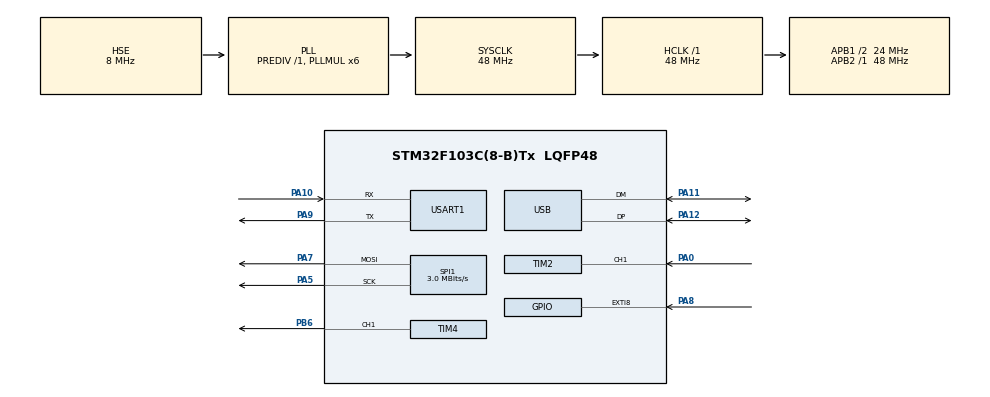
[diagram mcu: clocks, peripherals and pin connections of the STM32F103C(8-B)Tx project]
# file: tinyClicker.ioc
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Mcu.Family=STM32F1
Mcu.Name=STM32F103C(8-B)Tx
Mcu.Package=LQFP48
Mcu.UserConstants=HID_CUSTOM_REPORT_DESC_SIZE,78
NVIC.EXTI9_5_IRQn=true\:0\:0\:false\:false\:true\:true\:true
NVIC.PriorityGroup=NVIC_PRIORITYGROUP_4
NVIC.TIM2_IRQn=true\:0\:0\:false\:false\:true\:true\:true
NVIC.USB_LP_CAN1_RX0_IRQn=true\:0\:0\:false\:false\:true\:false\:true
PA0-WKUP.Signal=S_TIM2_CH1_ETR
PA10.Mode=Asynchronous
PA10.Signal=USART1_RX
PA11.Mode=Device
PA11.Signal=USB_DM
PA12.Mode=Device
PA12.Signal=USB_DP
PA13.Mode=Serial_Wire
PA13.Signal=SYS_JTMS-SWDIO
PA14.Mode=Serial_Wire
PA14.Signal=SYS_JTCK-SWCLK
PA5.Mode=TX_Only_Simplex_Unidirect_Master
PA5.Signal=SPI1_SCK
PA7.Mode=TX_Only_Simplex_Unidirect_Master
PA7.Signal=SPI1_MOSI
PA8.GPIO_ModeDefaultEXTI=GPIO_MODE_IT_FALLING
PA8.Signal=GPXTI8
PA9.Mode=Asynchronous
PA9.Signal=USART1_TX
PB6.Signal=S_TIM4_CH1
PC14-OSC32_IN.Mode=LSE-External-Oscillator
PC14-OSC32_IN.Signal=RCC_OSC32_IN
PC15-OSC32_OUT.Mode=LSE-External-Oscillator
PC15-OSC32_OUT.Signal=RCC_OSC32_OUT
PD0-OSC_IN.Mode=HSE-External-Oscillator
PD0-OSC_IN.Signal=RCC_OSC_IN
PD1-OSC_OUT.Mode=HSE-External-Oscillator
PD1-OSC_OUT.Signal=RCC_OSC_OUT
ProjectManager.HeapSize=0x200
ProjectManager.StackSize=0x400
ProjectManager.TargetToolchain=Makefile
RCC.AHBFreq_Value=48000000
RCC.APB1CLKDivider=RCC_HCLK_DIV2
RCC.APB1Freq_Value=24000000
RCC.APB1TimFreq_Value=48000000
RCC.APB2Freq_Value=48000000
RCC.APB2TimFreq_Value=48000000
RCC.HCLKFreq_Value=48000000
RCC.HSICalibrationValue=8
RCC.PLLMUL=RCC_PLL_MUL6
RCC.PLLSourceVirtual=RCC_PLLSOURCE_HSE
RCC.SYSCLKFreq_VALUE=48000000
RCC.SYSCLKSource=RCC_SYSCLKSOURCE_PLLCLK
RCC.USBFreq_Value=48000000
SH.S_TIM2_CH1_ETR.0=TIM2_CH1,Input_Capture1_from_TI1
SH.S_TIM2_CH1_ETR.1=TIM2_CH1,Input_Capture2_from_TI1
SH.S_TIM4_CH1.0=TIM4_CH1,PWM Generation1 CH1
SPI1.BaudRatePrescaler=SPI_BAUDRATEPRESCALER_16
SPI1.CalculateBaudRate=3.0 MBits/s
SPI1.Direction=SPI_DIRECTION_2LINES
SPI1.Mode=SPI_MODE_MASTER
SPI1.VirtualType=VM_MASTER
TIM2.AutoReloadPreload=TIM_AUTORELOAD_PRELOAD_DISABLE
TIM2.Channel-Input_Capture1_from_TI1=TIM_CHANNEL_1
TIM2.Channel-Input_Capture2_from_TI1=TIM_CHANNEL_2
TIM2.ICFilter_CH1=0
TIM2.ICPolarity_CH1=TIM_INPUTCHANNELPOLARITY_FALLING
TIM2.Period=64000
TIM2.Prescaler=4799
TIM2.TIM_MasterOutputTrigger=TIM_TRGO_RESET
TIM4.Channel-PWM\ Generation1\ CH1=TIM_CHANNEL_1
TIM4.Period=999
TIM4.Prescaler=35
TIM4.Pulse-PWM\ Generation1\ CH1=499
USART1.VirtualMode=VM_ASYNC
USB_DEVICE.CLASS_NAME_FS=HID
USB_DEVICE.VirtualMode=Hid
USB_DEVICE.VirtualModeFS=Hid_FS
VP_USB_DEVICE_VS_USB_DEVICE_HID_FS.Mode=HID_FS
board=tinyClicker

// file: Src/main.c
/* USER CODE BEGIN Header */
/**
******************************************************************************
* @file           : main.c
* @brief          : Main program body
******************************************************************************
* @attention
*
* <h2><center>&copy; Copyright (c) 2019 STMicroelectronics.
* All rights reserved.</center></h2>
*
* This software component is licensed by ST under BSD 3-Clause license,
* the "License"; You may not use this file except in compliance with the
* License. You may obtain a copy of the License at:
*                        opensource.org/licenses/BSD-3-Clause
*
******************************************************************************
*/
/* USER CODE END Header */

#include "main.h"
#include "usb_device.h"

/* USER CODE BEGIN Includes */
#include <stdio.h>
#include <math.h>
#include <stdbool.h>

#include "usbd_hid.h"
#include "usb_device.h"
/* USER CODE END Includes */

/* USER CODE BEGIN PTD */
struct keyboardHID_t {
	uint8_t id;
	uint8_t modifiers;
	uint8_t key1;
	uint8_t key2;
	uint8_t key3;
};

/* USER CODE END PTD */

/* USER CODE BEGIN PD */
#define USB_KEY_RIGHT 			0x4f
#define USB_KEY_LEFT 			0x50
/* USER CODE END PD */

SPI_HandleTypeDef hspi1;

TIM_HandleTypeDef htim2;
TIM_HandleTypeDef htim4;

UART_HandleTypeDef huart1;

/* USER CODE BEGIN PV */
/* Private variables ---------------------------------------------------------*/

#include  <errno.h>
#include  <sys/unistd.h> // STDOUT_FILENO, STDERR_FILENO

int _write(int file, char *data, int len)
{
	if ((file != STDOUT_FILENO) && (file != STDERR_FILENO))
	{
		errno = EBADF;
		return -1;
	}

	// arbitrary timeout 1000
	HAL_StatusTypeDef status =
		HAL_UART_Transmit(&huart1, (uint8_t*)data, len, 1000);

	// return # of bytes written - as best we can tell
	return (status == HAL_OK ? len : 0);
}

/* USER CODE END PV */

void SystemClock_Config(void);
static void MX_GPIO_Init(void);
static void MX_SPI1_Init(void);
static void MX_USART1_UART_Init(void);
static void MX_TIM2_Init(void);
static void MX_TIM4_Init(void);
/* USER CODE BEGIN PFP */
/* Private function prototypes -----------------------------------------------*/

/* USER CODE END PFP */

/* USER CODE BEGIN 0 */
int32_t buff[128][2];
#define BUFF_SIZE (sizeof (buff) / sizeof (buff[0]))
int bi = 0;
void add_val (int a, int e) {
	buff[bi++][0] = a;
	buff[bi][1] = e;
	if (bi == sizeof (buff) / sizeof (buff[0]))
		bi = 0;
}

void print_vals () {
	int i;
	for (i=0; i< sizeof (buff) / sizeof (buff[0]); ++i) {
		printf ("%d %ld - %ld\n", i, buff[i][1], buff[i][0]);
	}
}

int32_t diff (int32_t a, int32_t b) {
	if ( (int32_t) a > (int32_t) b )
		return 0xffffffff + a - b;
	return a - b;
}

#define PREC		6
int inrange (int32_t a, int32_t ref) {
	if (a < ref + PREC &&
		a > ref - PREC)
		return true;
	return false;
}

int pulselen (size_t ind) {
	ind %= BUFF_SIZE;
	size_t next_ind = (ind + 1) % BUFF_SIZE;
	return diff (buff[next_ind][0], buff[ind][0]);
}

void buff_set (size_t ind, int val) {
	ind %= BUFF_SIZE;
	buff[ind][0] = val;
}

bool process (int *ret_addr, int *ret_comm) {
	/* TODO: */
	size_t i;
	bool found = false;
	for (i = 0; i < BUFF_SIZE - 2; i++) {
		if (inrange (pulselen (i), 90) &&
			inrange (pulselen (i+1), 45)) {
			/* printf ("Found  start at index: %d\n", i); */
			found = true;
			break;
		}
	}
	if (! found)
		return false;
	char decoded[32] = {0};
	size_t di = 0;
	if (found) {
		HAL_Delay (60); 		/* wait for payload */
		HAL_TIM_IC_Stop (&htim2, TIM_CHANNEL_1);
		HAL_TIM_IC_Stop (&htim2, TIM_CHANNEL_2);

		buff_set (i, 0);
		buff_set (i+1, 0);
		i += 2;
		i %= BUFF_SIZE;
		for (; di < 32; ++i) {
			if (inrange (pulselen (i) , 5) &&
				inrange (pulselen (i+1), 5))
				decoded[di++] = 0;
			else if (inrange (pulselen (i) , 5) &&
					 inrange (pulselen (i+1), 17))
				decoded[di++] = 1;
			else {
				print_vals ();
				printf ("Decoding error at index %d : %d %d\n",
						i % BUFF_SIZE,
						pulselen (i), pulselen(i+1));
				HAL_TIM_IC_Start_IT (&htim2, TIM_CHANNEL_1);
				HAL_TIM_IC_Start_IT (&htim2, TIM_CHANNEL_2);
				/* while (1); */
				return false;
			}

			i++;
			if (i == BUFF_SIZE)
				i = 0;
		}
	}

	HAL_TIM_IC_Start_IT (&htim2, TIM_CHANNEL_1);
	HAL_TIM_IC_Start_IT (&htim2, TIM_CHANNEL_2);

	uint8_t payload[4] = {0};
#ifdef PROC_DEB
	printf ("Decoded :");
	for (di=0; di < 32; ++di) {
		printf ("%d", decoded[di]);
	}
	puts ("");
#endif

	i = 0;
	size_t j = 0;
	for (j=0; j < 4; ++j) {
		for (i=0; i < 8 ; ++i) {
			payload[j] |= (decoded[j*8 + i] << i);
		}
	}

#ifdef PROC_DEB
	printf ("%02X %02X %02X %02X\n",
			payload[0],
			payload[1],
			payload[2],
			payload[3]);

	/* other checks */
#endif

	if ( (payload[0] ^ payload[1]) != 0xff ||
		 (payload[2] ^ payload[3]) != 0xff) {
		printf ("XOR error ");
		printf ("%02X %02X %02X %02X\n",
				payload[0],
				payload[1],
				payload[2],
				payload[3]);
		return false;
#ifdef PROC_DEB
		puts ("XOR error ");
#endif
	}

	uint8_t addr=payload[0], com = payload[2];

	printf ("Addr: %02X, com: %02X\n", addr, com);

	*ret_addr = addr;
	*ret_comm = com;
	return true;
}

void HAL_TIM_IC_CaptureCallback(TIM_HandleTypeDef *htim)   {
	/* static int bleh; */
	/* add_val (bleh++); */
	int value = 0;
	if (htim->Channel == 1)
		value = HAL_TIM_ReadCapturedValue (&htim2, TIM_CHANNEL_1);
	else if (htim->Channel == 2)
		value = HAL_TIM_ReadCapturedValue (&htim2, TIM_CHANNEL_2);
	add_val (value, htim->Channel == 1);

}

/* USER CODE END 0 */

int main(void)
{

  /* MCU Configuration--------------------------------------------------------*/

  /* Reset of all peripherals, Initializes the Flash interface and the Systick. */
  HAL_Init();

  /* Configure the system clock */
  SystemClock_Config();

  /* Initialize all configured peripherals */
  MX_GPIO_Init();
  MX_SPI1_Init();
  MX_USART1_UART_Init();
  MX_TIM2_Init();
  MX_TIM4_Init();
  MX_USB_DEVICE_Init();

  /* Infinite loop */
  /* USER CODE BEGIN WHILE */

  /* unit tests */

  if (! (inrange (6,5) &&
		 inrange (16,16) &&
		 inrange (16, 17)) ) {
		  puts ("ERRRROR");
		  while (1);
	  }

	/* HAL_TIM_PWM_Start (&htim4, TIM_CHANNEL_1); */
	HAL_TIM_IC_Start_IT (&htim2, TIM_CHANNEL_1);
	HAL_TIM_IC_Start_IT (&htim2, TIM_CHANNEL_2);

	puts ("\033[2J\033[H");
	while (1)
	{
		/* printf ("\033[2J\033[H Working! %d\n", rc++); */
		/* print_vals (); */
		HAL_Delay (2);

		int addr, com;
		if (process (&addr, &com)) {
			printf ("\t Command:  %d\n", com);
			struct keyboardHID_t keyboardHID = {0};
			keyboardHID.id = 1;

			do {
				if (com == 0x08) {
					keyboardHID.key1 = USB_KEY_LEFT;
				}
				else if (com == 0x5a) {
					keyboardHID.key1 = USB_KEY_RIGHT;
				}
				else
					break;
				USBD_HID_SendReport(&hUsbDeviceFS, (uint8_t*)&keyboardHID,
									sizeof(struct keyboardHID_t));

				HAL_Delay (30);
				keyboardHID.modifiers = 0;
				keyboardHID.key1 = 0;
				USBD_HID_SendReport(&hUsbDeviceFS, (uint8_t*)&keyboardHID,
									sizeof(struct keyboardHID_t));
			} while (0);

		}

		/* read b1 to get IR info */
		HAL_GPIO_ReadPin (GPIOB, GPIO_PIN_1);

#if 0
		uint8_t buff [ 16 ] = {0, 0, 4, 0, 0, 0, 0, 0};
		USBD_HID_SendReport (&hUsbDeviceFS, buff, 8);
#endif

#if 0
		struct keyboardHID_t keyboardHID;
		keyboardHID.id = 1;
		keyboardHID.modifiers = 0;
		keyboardHID.key1 = 0;
		keyboardHID.key2 = 0;
		keyboardHID.key3 = 0;

		keyboardHID.modifiers = 0;
		keyboardHID.key1 = 0;/////79;
		USBD_HID_SendReport(&hUsbDeviceFS, (uint8_t*)&keyboardHID, sizeof(struct keyboardHID_t));
		HAL_Delay(30);
		keyboardHID.modifiers = 0;
		keyboardHID.key1 = 0;
		USBD_HID_SendReport(&hUsbDeviceFS, (uint8_t*)&keyboardHID, sizeof(struct keyboardHID_t));
#endif

    /* USER CODE END WHILE */

	}
}

void SystemClock_Config(void)
{
  RCC_OscInitTypeDef RCC_OscInitStruct = {0};
  RCC_ClkInitTypeDef RCC_ClkInitStruct = {0};
  RCC_PeriphCLKInitTypeDef PeriphClkInit = {0};

  /** Initializes the CPU, AHB and APB busses clocks
  */
  RCC_OscInitStruct.OscillatorType = RCC_OSCILLATORTYPE_HSE;
  RCC_OscInitStruct.HSEState = RCC_HSE_ON;
  RCC_OscInitStruct.HSEPredivValue = RCC_HSE_PREDIV_DIV1;
  RCC_OscInitStruct.HSIState = RCC_HSI_ON;
  RCC_OscInitStruct.PLL.PLLState = RCC_PLL_ON;
  RCC_OscInitStruct.PLL.PLLSource = RCC_PLLSOURCE_HSE;
  RCC_OscInitStruct.PLL.PLLMUL = RCC_PLL_MUL6;
  if (HAL_RCC_OscConfig(&RCC_OscInitStruct) != HAL_OK)
  {
    Error_Handler();
  }
  /** Initializes the CPU, AHB and APB busses clocks
  */
  RCC_ClkInitStruct.ClockType = RCC_CLOCKTYPE_HCLK|RCC_CLOCKTYPE_SYSCLK
                              |RCC_CLOCKTYPE_PCLK1|RCC_CLOCKTYPE_PCLK2;
  RCC_ClkInitStruct.SYSCLKSource = RCC_SYSCLKSOURCE_PLLCLK;
  RCC_ClkInitStruct.AHBCLKDivider = RCC_SYSCLK_DIV1;
  RCC_ClkInitStruct.APB1CLKDivider = RCC_HCLK_DIV2;
  RCC_ClkInitStruct.APB2CLKDivider = RCC_HCLK_DIV1;

  if (HAL_RCC_ClockConfig(&RCC_ClkInitStruct, FLASH_LATENCY_1) != HAL_OK)
  {
    Error_Handler();
  }
  PeriphClkInit.PeriphClockSelection = RCC_PERIPHCLK_USB;
  PeriphClkInit.UsbClockSelection = RCC_USBCLKSOURCE_PLL;
  if (HAL_RCCEx_PeriphCLKConfig(&PeriphClkInit) != HAL_OK)
  {
    Error_Handler();
  }
}

static void MX_SPI1_Init(void)
{

  /* SPI1 parameter configuration*/
  hspi1.Instance = SPI1;
  hspi1.Init.Mode = SPI_MODE_MASTER;
  hspi1.Init.Direction = SPI_DIRECTION_2LINES;
  hspi1.Init.DataSize = SPI_DATASIZE_8BIT;
  hspi1.Init.CLKPolarity = SPI_POLARITY_LOW;
  hspi1.Init.CLKPhase = SPI_PHASE_1EDGE;
  hspi1.Init.NSS = SPI_NSS_SOFT;
  hspi1.Init.BaudRatePrescaler = SPI_BAUDRATEPRESCALER_16;
  hspi1.Init.FirstBit = SPI_FIRSTBIT_MSB;
  hspi1.Init.TIMode = SPI_TIMODE_DISABLE;
  hspi1.Init.CRCCalculation = SPI_CRCCALCULATION_DISABLE;
  hspi1.Init.CRCPolynomial = 10;
  if (HAL_SPI_Init(&hspi1) != HAL_OK)
  {
    Error_Handler();
  }

}

static void MX_TIM2_Init(void)
{

  TIM_MasterConfigTypeDef sMasterConfig = {0};
  TIM_IC_InitTypeDef sConfigIC = {0};

  htim2.Instance = TIM2;
  htim2.Init.Prescaler = 4799;
  htim2.Init.CounterMode = TIM_COUNTERMODE_UP;
  htim2.Init.Period = 64000;
  htim2.Init.ClockDivision = TIM_CLOCKDIVISION_DIV1;
  htim2.Init.AutoReloadPreload = TIM_AUTORELOAD_PRELOAD_DISABLE;
  if (HAL_TIM_IC_Init(&htim2) != HAL_OK)
  {
    Error_Handler();
  }
  sMasterConfig.MasterOutputTrigger = TIM_TRGO_RESET;
  sMasterConfig.MasterSlaveMode = TIM_MASTERSLAVEMODE_DISABLE;
  if (HAL_TIMEx_MasterConfigSynchronization(&htim2, &sMasterConfig) != HAL_OK)
  {
    Error_Handler();
  }
  sConfigIC.ICPolarity = TIM_INPUTCHANNELPOLARITY_FALLING;
  sConfigIC.ICSelection = TIM_ICSELECTION_DIRECTTI;
  sConfigIC.ICPrescaler = TIM_ICPSC_DIV1;
  sConfigIC.ICFilter = 0;
  if (HAL_TIM_IC_ConfigChannel(&htim2, &sConfigIC, TIM_CHANNEL_1) != HAL_OK)
  {
    Error_Handler();
  }
  sConfigIC.ICPolarity = TIM_INPUTCHANNELPOLARITY_RISING;
  sConfigIC.ICSelection = TIM_ICSELECTION_INDIRECTTI;
  if (HAL_TIM_IC_ConfigChannel(&htim2, &sConfigIC, TIM_CHANNEL_2) != HAL_OK)
  {
    Error_Handler();
  }

}

static void MX_TIM4_Init(void)
{

  TIM_MasterConfigTypeDef sMasterConfig = {0};
  TIM_OC_InitTypeDef sConfigOC = {0};

  htim4.Instance = TIM4;
  htim4.Init.Prescaler = 35;
  htim4.Init.CounterMode = TIM_COUNTERMODE_UP;
  htim4.Init.Period = 999;
  htim4.Init.ClockDivision = TIM_CLOCKDIVISION_DIV1;
  htim4.Init.AutoReloadPreload = TIM_AUTORELOAD_PRELOAD_DISABLE;
  if (HAL_TIM_PWM_Init(&htim4) != HAL_OK)
  {
    Error_Handler();
  }
  sMasterConfig.MasterOutputTrigger = TIM_TRGO_RESET;
  sMasterConfig.MasterSlaveMode = TIM_MASTERSLAVEMODE_DISABLE;
  if (HAL_TIMEx_MasterConfigSynchronization(&htim4, &sMasterConfig) != HAL_OK)
  {
    Error_Handler();
  }
  sConfigOC.OCMode = TIM_OCMODE_PWM1;
  sConfigOC.Pulse = 499;
  sConfigOC.OCPolarity = TIM_OCPOLARITY_HIGH;
  sConfigOC.OCFastMode = TIM_OCFAST_DISABLE;
  if (HAL_TIM_PWM_ConfigChannel(&htim4, &sConfigOC, TIM_CHANNEL_1) != HAL_OK)
  {
    Error_Handler();
  }
  HAL_TIM_MspPostInit(&htim4);

}

static void MX_USART1_UART_Init(void)
{

  huart1.Instance = USART1;
  huart1.Init.BaudRate = 115200;
  huart1.Init.WordLength = UART_WORDLENGTH_8B;
  huart1.Init.StopBits = UART_STOPBITS_1;
  huart1.Init.Parity = UART_PARITY_NONE;
  huart1.Init.Mode = UART_MODE_TX_RX;
  huart1.Init.HwFlowCtl = UART_HWCONTROL_NONE;
  huart1.Init.OverSampling = UART_OVERSAMPLING_16;
  if (HAL_UART_Init(&huart1) != HAL_OK)
  {
    Error_Handler();
  }

}

static void MX_GPIO_Init(void)
{
  GPIO_InitTypeDef GPIO_InitStruct = {0};

  /* GPIO Ports Clock Enable */
  __HAL_RCC_GPIOC_CLK_ENABLE();
  __HAL_RCC_GPIOD_CLK_ENABLE();
  __HAL_RCC_GPIOA_CLK_ENABLE();
  __HAL_RCC_GPIOB_CLK_ENABLE();

  /*Configure GPIO pin : PA8 */
  GPIO_InitStruct.Pin = GPIO_PIN_8;
  GPIO_InitStruct.Mode = GPIO_MODE_IT_FALLING;
  GPIO_InitStruct.Pull = GPIO_NOPULL;
  HAL_GPIO_Init(GPIOA, &GPIO_InitStruct);

  /* EXTI interrupt init*/
  HAL_NVIC_SetPriority(EXTI9_5_IRQn, 0, 0);
  HAL_NVIC_EnableIRQ(EXTI9_5_IRQn);

}

void Error_Handler(void)
{
	while(1)
	{
	}
}

/************************ (C) COPYRIGHT STMicroelectronics *****END OF FILE****/
